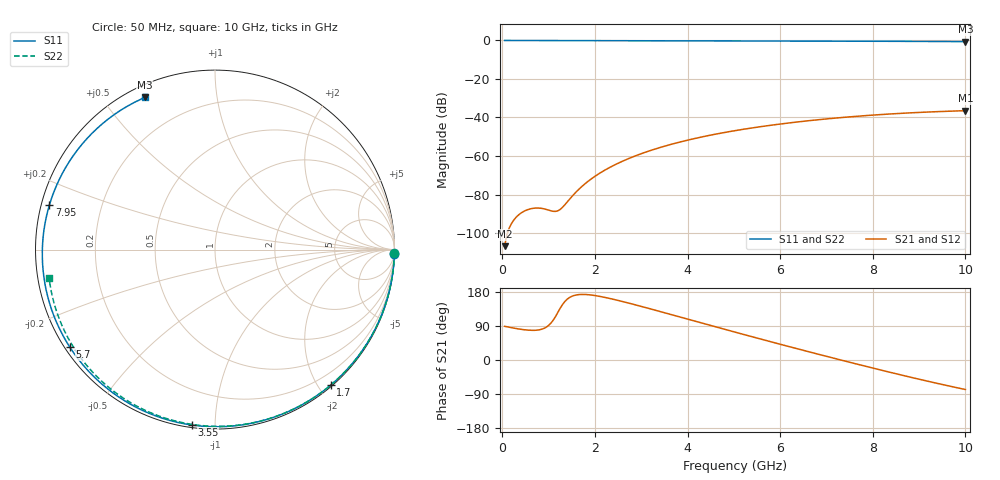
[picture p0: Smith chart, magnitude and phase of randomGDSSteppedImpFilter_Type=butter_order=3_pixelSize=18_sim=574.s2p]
! freq	dB(S11)	phase(S11)	dB(S12)	phase(S12)
!  dB(S21)	phase(S21)	dB(S22)	phase(S22)
!S-par simulation data
#  GHz  S  DB  R 50
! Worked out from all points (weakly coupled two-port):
!   200 points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, 50 MHz to 10 GHz, reference 50 ohm
!   highest |S21| = -36.47 dB at 10 GHz (marker M1); lowest = -106.8 dB at 50 MHz (marker M2)
!   lowest |S11| = -0.6 dB at 10 GHz (marker M3), VSWR 29.05, Z = 2.43 + j31.9 ohm
!   |S11| at or under -10 dB: nowhere
!   |S22| runs from -0.6 to 0.0 dB; largest |S21 - S12| = 0
!   S11 on the Smith chart (normalised r, x): 50 MHz: 0, -76; 1.7 GHz: 0.02, -2.17; 3.55 GHz: 0.01, -0.88; 5.7 GHz: 0.01, -0.30; 7.95 GHz: 0.02, +0.13; 10 GHz: 0.05, +0.64
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0.05  -0.00 -1.5  -106.82 88.9  -106.82 88.9  -0.00 -1.0
0.4  -0.02 -11.9  -89.69 81.1  -89.69 81.1  -0.01 -7.9
0.75  -0.03 -22.2  -87.01 78.8  -87.01 78.8  -0.02 -14.8
1.5  -0.06 -43.8  -81.12 168.0  -81.12 168.0  -0.04 -29.3
1.55  -0.06 -45.3  -79.79 170.2  -79.79 170.2  -0.04 -30.3
1.7  -0.06 -49.5  -76.21 173.0  -76.21 173.0  -0.04 -33.2
1.75  -0.06 -50.8  -75.15 173.1  -75.15 173.1  -0.04 -34.1
2.05  -0.07 -59.1  -69.75 169.1  -69.75 169.1  -0.05 -39.8
2.45  -0.09 -69.8  -64.34 158.7  -64.34 158.7  -0.06 -47.3
2.9  -0.10 -81.4  -59.69 144.7  -59.69 144.7  -0.07 -55.5
3.4  -0.12 -93.9  -55.63 128.2  -55.63 128.2  -0.09 -64.5
3.55  -0.12 -97.6  -54.58 123.2  -54.58 123.2  -0.09 -67.1
4.25  -0.15 -114.1  -50.41 99.5  -50.41 99.5  -0.11 -79.3
5.05  -0.19 -132.1  -46.73 72.7  -46.73 72.7  -0.14 -92.7
5.7  -0.23 -146.2  -44.35 51.3  -44.35 51.3  -0.17 -103.2
6.2  -0.26 -157.0  -42.80 35.1  -42.80 35.1  -0.20 -111.2
6.7  -0.29 -167.7  -41.46 19.1  -41.46 19.1  -0.23 -119.0
7.35  -0.34 178.3  -39.97 -1.3  -39.97 -1.3  -0.28 -129.0
7.95  -0.40 165.0  -38.84 -19.8  -38.84 -19.8  -0.33 -138.2
8.35  -0.43 155.9  -38.21 -31.8  -38.21 -31.8  -0.37 -144.3
9.15  -0.51 136.8  -37.20 -55.0  -37.20 -55.0  -0.45 -156.7
10  -0.60 114.8  -36.47 -77.9  -36.47 -77.9  -0.56 -170.2
